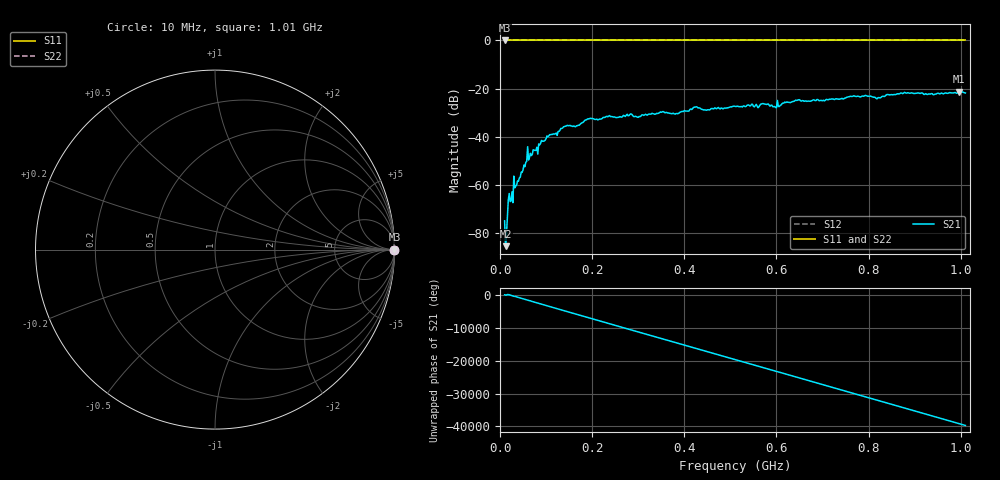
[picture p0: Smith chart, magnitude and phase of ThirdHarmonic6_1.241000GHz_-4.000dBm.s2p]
! 8/16/2025 1:10:54 PM
! C:\ANRITSUVNA\TEMP\TEMP.S2P
! CHANNEL.1
! TR.MEASUREMENT
! RAW.DATA
! RF.CORRECTION.OFF
! AVERAGING.OFF
! IF.BANDWIDTH: 5KHZ
! SWEEPTYPE:  FREQ.SWEEP(Linear)
! Reference Plane Port Info
! PORT:  PORT1  PORT2
! DISTANCE:  0  m  0  m
! TIME:  0  s  0  s
! PHASE.OFFSET:  0  deg.  0  deg.
! LOSS:  0  dB  0  dB
! REF.LOSS:  0  dB  0  dB
! REF.FREQ:  0  Hz  0  Hz
! Power Info
! POWER:  -20  dBm  -20  dBm
! EFF.POWER:  -20  dBm  -20  dBm
! SOURCE.ATTEN:  0  dB  0  dB
! TEST.ATTEN:  0  dB  0  dB
# GHZ S RI R 50.0
! FREQ.GHZ  S11RE  S11IM  S21RE  S21IM  S12RE  S12IM  S22RE  S22IM
!; PortSelection: Port_12
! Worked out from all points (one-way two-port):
!   501 points, 10 MHz to 1.01 GHz, reference 50 ohm
!   highest |S21| = -21.31 dB at 996 MHz (marker M1); lowest = -85.4 dB at 12 MHz (marker M2)
!   lowest |S11| = 0.0 dB at 10 MHz (marker M3)
!   |S11| at or under -10 dB: nowhere
!   |S22| runs from 0.0 to 0.0 dB; largest |S21 - S12| = 1.1
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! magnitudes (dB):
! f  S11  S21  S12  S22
! 10 MHz  0.0  -74.9  0.0  0.0
! 12 MHz  0.0  -85.4  0.0  0.0
! 22 MHz  0.0  -66.9  0.0  0.0
! 24 MHz  0.0  -66.7  0.0  0.0
! 34 MHz  0.0  -60.3  0.0  0.0
! 62 MHz  0.0  -49.7  0.0  0.0
! 106 MHz  0.0  -39.6  0.0  0.0
! 142 MHz  0.0  -35.6  0.0  0.0
! 178 MHz  0.0  -34.2  0.0  0.0
! 234 MHz  0.0  -31.7  0.0  0.0
! 344 MHz  0.0  -30.2  0.0  0.0
! 384 MHz  0.0  -30.4  0.0  0.0
! 424 MHz  0.0  -27.7  0.0  0.0
! 450 MHz  0.0  -28.8  0.0  0.0
! 510 MHz  0.0  -27.3  0.0  0.0
! 570 MHz  0.0  -26.2  0.0  0.0
! 596 MHz  0.0  -27.5  0.0  0.0
! 646 MHz  0.0  -24.8  0.0  0.0
! 678 MHz  0.0  -24.9  0.0  0.0
! 844 MHz  0.0  -22.5  0.0  0.0
! 996 MHz  0.0  -21.3  0.0  0.0
! 1.01 GHz  0.0  -21.8  0.0  0.0
